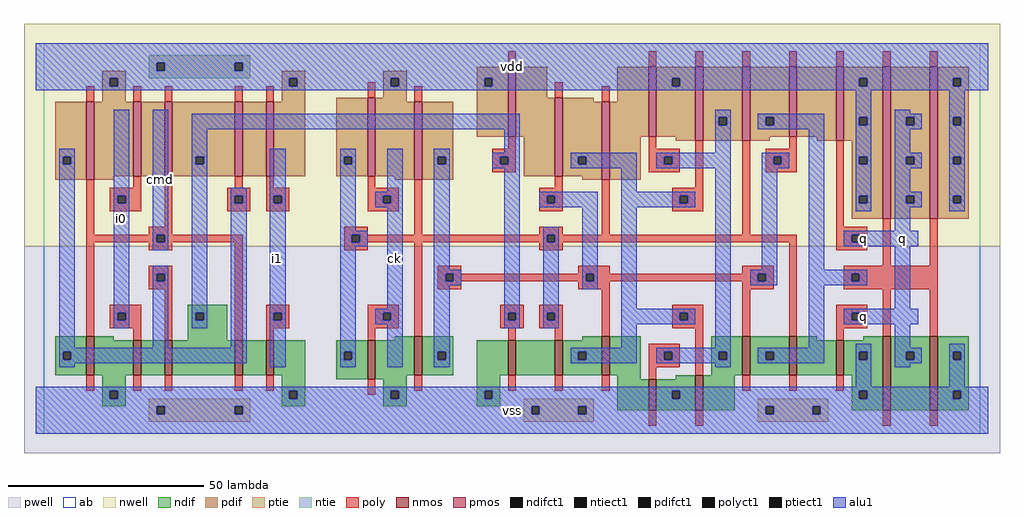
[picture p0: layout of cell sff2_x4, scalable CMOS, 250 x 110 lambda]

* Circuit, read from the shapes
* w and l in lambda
.subckt sff2_x4 ck cmd i0 i1 q vdd vss
M1 vss cmd n1 vss nfet w=10 l=2
M2 n2 i0 vss vss nfet w=9 l=2
M3 n3 n1 n2 vss nfet w=9 l=2
M4 n4 cmd n3 vss nfet w=9 l=2
M5 vss i1 n4 vss nfet w=9 l=2
M6 vss ck n5 vss nfet w=10 l=2
M7 n6 n5 vss vss nfet w=10 l=2
M8 n7 n3 vss vss nfet w=9 l=2
M9 n8 n5 n7 vss nfet w=9 l=2
M10 n9 n6 n8 vss nfet w=10 l=2
M11 vss n10 n9 vss nfet w=8 l=2
M12 n10 n8 vss vss nfet w=9 l=2
M13 n11 n6 n10 vss nfet w=10 l=2
M14 n12 n5 n11 vss nfet w=10 l=2
M15 vss q n12 vss nfet w=9 l=2
M16 q n11 vss vss nfet w=19 l=2 m=2
M17 vdd cmd n1 vdd pfet w=20 l=2
M18 n13 i0 vdd vdd pfet w=19 l=2
M19 n3 cmd n13 vdd pfet w=19 l=2
M20 n14 n1 n3 vdd pfet w=19 l=2
M21 vdd i1 n14 vdd pfet w=19 l=2
M22 vdd ck n5 vdd pfet w=20 l=2
M23 n6 n5 vdd vdd pfet w=20 l=2
M24 n15 n3 vdd vdd pfet w=18 l=2
M25 n8 n6 n15 vdd pfet w=20 l=2
M26 n16 n5 n8 vdd pfet w=20 l=2
M27 vdd n10 n16 vdd pfet w=18 l=2
M28 n10 n8 vdd vdd pfet w=19 l=2
M29 n11 n5 n10 vdd pfet w=19 l=2
M30 n17 n6 n11 vdd pfet w=18 l=2
M31 vdd q n17 vdd pfet w=19 l=2
M32 q n11 vdd vdd pfet w=39 l=2 m=2
.ends

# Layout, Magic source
magic
tech scmos
<< ab >>
rect 0 0 240 100
<< nwell >>
rect -5 48 245 105
<< pwell >>
rect -5 -5 245 48
<< poly >>
rect 119 94 121 98
rect 155 94 157 98
rect 167 94 169 98
rect 179 94 181 98
rect 191 94 193 98
rect 203 94 205 98
rect 215 94 217 98
rect 227 94 229 98
rect 11 85 13 89
rect 23 85 25 89
rect 31 85 33 89
rect 49 85 51 89
rect 57 85 59 89
rect 83 86 85 90
rect 95 85 97 89
rect 11 51 13 65
rect 23 63 25 66
rect 17 61 25 63
rect 17 59 19 61
rect 21 59 25 61
rect 17 57 25 59
rect 31 53 33 66
rect 49 63 51 66
rect 57 63 59 66
rect 83 63 85 66
rect 131 86 133 90
rect 119 73 121 76
rect 115 71 121 73
rect 115 69 117 71
rect 119 69 121 71
rect 115 67 121 69
rect 143 85 145 89
rect 47 61 53 63
rect 47 59 49 61
rect 51 59 53 61
rect 47 57 53 59
rect 57 61 63 63
rect 57 59 59 61
rect 61 59 63 61
rect 57 57 63 59
rect 83 61 91 63
rect 83 59 87 61
rect 89 59 91 61
rect 83 57 91 59
rect 27 51 33 53
rect 77 51 83 53
rect 95 51 97 65
rect 131 63 133 66
rect 155 73 157 76
rect 155 71 163 73
rect 155 69 159 71
rect 161 69 163 71
rect 155 67 163 69
rect 127 61 133 63
rect 127 59 129 61
rect 131 59 133 61
rect 127 57 133 59
rect 127 51 133 53
rect 143 51 145 65
rect 167 63 169 75
rect 161 61 169 63
rect 161 59 163 61
rect 165 59 169 61
rect 161 57 169 59
rect 179 51 181 75
rect 191 73 193 76
rect 185 71 193 73
rect 185 69 187 71
rect 189 69 193 71
rect 185 67 193 69
rect 203 53 205 75
rect 203 51 211 53
rect 11 49 29 51
rect 31 49 51 51
rect 11 25 13 49
rect 27 47 33 49
rect 27 41 33 43
rect 27 39 29 41
rect 31 39 33 41
rect 27 37 33 39
rect 17 31 25 33
rect 17 29 19 31
rect 21 29 25 31
rect 17 27 25 29
rect 23 24 25 27
rect 31 24 33 37
rect 49 24 51 49
rect 77 49 79 51
rect 81 49 129 51
rect 131 49 193 51
rect 77 47 83 49
rect 57 31 63 33
rect 57 29 59 31
rect 61 29 63 31
rect 57 27 63 29
rect 83 31 91 33
rect 83 29 87 31
rect 89 29 91 31
rect 83 27 91 29
rect 57 24 59 27
rect 83 24 85 27
rect 95 25 97 49
rect 127 47 133 49
rect 101 41 107 43
rect 137 41 145 43
rect 179 41 187 43
rect 101 39 103 41
rect 105 39 139 41
rect 141 39 183 41
rect 185 39 187 41
rect 101 37 107 39
rect 137 37 145 39
rect 117 31 123 33
rect 117 29 119 31
rect 121 29 123 31
rect 117 27 123 29
rect 127 31 133 33
rect 127 29 129 31
rect 131 29 133 31
rect 127 27 133 29
rect 11 11 13 15
rect 23 11 25 15
rect 31 11 33 15
rect 49 11 51 15
rect 57 11 59 15
rect 119 24 121 27
rect 131 24 133 27
rect 143 25 145 37
rect 179 37 187 39
rect 161 31 169 33
rect 161 29 163 31
rect 165 29 169 31
rect 161 27 169 29
rect 83 10 85 14
rect 95 11 97 15
rect 119 11 121 15
rect 131 11 133 15
rect 143 11 145 15
rect 155 21 163 23
rect 155 19 159 21
rect 161 19 163 21
rect 155 17 163 19
rect 155 14 157 17
rect 167 15 169 27
rect 179 25 181 37
rect 191 25 193 49
rect 203 49 207 51
rect 209 49 211 51
rect 203 47 211 49
rect 215 43 217 55
rect 227 43 229 55
rect 205 41 229 43
rect 205 39 207 41
rect 209 39 229 41
rect 205 37 229 39
rect 203 31 211 33
rect 203 29 207 31
rect 209 29 211 31
rect 203 27 211 29
rect 203 24 205 27
rect 215 25 217 37
rect 227 25 229 37
rect 179 11 181 15
rect 191 11 193 15
rect 203 11 205 15
rect 155 2 157 6
rect 167 2 169 6
rect 215 2 217 6
rect 227 2 229 6
<< ndif >>
rect 3 21 11 25
rect 3 19 5 21
rect 7 19 11 21
rect 3 15 11 19
rect 13 24 18 25
rect 37 31 47 33
rect 37 29 39 31
rect 41 29 47 31
rect 37 24 47 29
rect 90 24 95 25
rect 13 15 23 24
rect 25 15 31 24
rect 33 15 49 24
rect 51 15 57 24
rect 59 15 67 24
rect 15 11 21 15
rect 61 11 67 15
rect 75 21 83 24
rect 75 19 77 21
rect 79 19 83 21
rect 75 14 83 19
rect 85 15 95 24
rect 97 21 105 25
rect 138 24 143 25
rect 97 19 101 21
rect 103 19 105 21
rect 97 15 105 19
rect 111 15 119 24
rect 121 15 131 24
rect 133 21 143 24
rect 133 19 137 21
rect 139 19 143 21
rect 133 15 143 19
rect 145 15 153 25
rect 85 14 93 15
rect 15 9 17 11
rect 19 9 21 11
rect 61 9 63 11
rect 65 9 67 11
rect 87 11 93 14
rect 111 11 117 15
rect 147 14 153 15
rect 171 21 179 25
rect 171 19 173 21
rect 175 19 179 21
rect 171 15 179 19
rect 181 21 191 25
rect 181 19 185 21
rect 187 19 191 21
rect 181 15 191 19
rect 193 24 198 25
rect 210 24 215 25
rect 193 15 203 24
rect 205 21 215 24
rect 205 19 209 21
rect 211 19 215 21
rect 205 15 215 19
rect 162 14 167 15
rect 15 7 21 9
rect 61 7 67 9
rect 87 9 89 11
rect 91 9 93 11
rect 87 7 93 9
rect 111 9 113 11
rect 115 9 117 11
rect 111 7 117 9
rect 147 6 155 14
rect 157 11 167 14
rect 157 9 161 11
rect 163 9 167 11
rect 157 6 167 9
rect 169 6 177 15
rect 207 11 215 15
rect 207 9 209 11
rect 211 9 215 11
rect 207 6 215 9
rect 217 21 227 25
rect 217 19 221 21
rect 223 19 227 21
rect 217 6 227 19
rect 229 21 237 25
rect 229 19 233 21
rect 235 19 237 21
rect 229 11 237 19
rect 229 9 233 11
rect 235 9 237 11
rect 229 6 237 9
<< pdif >>
rect 15 91 21 93
rect 61 91 67 93
rect 15 89 17 91
rect 19 89 21 91
rect 61 89 63 91
rect 65 89 67 91
rect 87 91 93 93
rect 15 85 21 89
rect 61 85 67 89
rect 87 89 89 91
rect 91 89 93 91
rect 111 91 119 94
rect 111 89 113 91
rect 115 89 119 91
rect 87 86 93 89
rect 3 71 11 85
rect 3 69 5 71
rect 7 69 11 71
rect 3 65 11 69
rect 13 66 23 85
rect 25 66 31 85
rect 33 71 49 85
rect 33 69 39 71
rect 41 69 49 71
rect 33 66 49 69
rect 51 66 57 85
rect 59 66 67 85
rect 75 71 83 86
rect 75 69 77 71
rect 79 69 83 71
rect 75 66 83 69
rect 85 85 93 86
rect 85 66 95 85
rect 13 65 18 66
rect 90 65 95 66
rect 97 71 105 85
rect 111 76 119 89
rect 121 86 129 94
rect 121 76 131 86
rect 97 69 101 71
rect 103 69 105 71
rect 97 65 105 69
rect 123 66 131 76
rect 133 85 141 86
rect 147 85 155 94
rect 133 71 143 85
rect 133 69 137 71
rect 139 69 143 71
rect 133 66 143 69
rect 138 65 143 66
rect 145 76 155 85
rect 157 91 167 94
rect 157 89 161 91
rect 163 89 167 91
rect 157 76 167 89
rect 145 65 153 76
rect 162 75 167 76
rect 169 81 179 94
rect 169 79 173 81
rect 175 79 179 81
rect 169 75 179 79
rect 181 81 191 94
rect 181 79 185 81
rect 187 79 191 81
rect 181 76 191 79
rect 193 76 203 94
rect 181 75 186 76
rect 198 75 203 76
rect 205 91 215 94
rect 205 89 209 91
rect 211 89 215 91
rect 205 81 215 89
rect 205 79 209 81
rect 211 79 215 81
rect 205 75 215 79
rect 207 71 215 75
rect 207 69 209 71
rect 211 69 215 71
rect 207 61 215 69
rect 207 59 209 61
rect 211 59 215 61
rect 207 55 215 59
rect 217 81 227 94
rect 217 79 221 81
rect 223 79 227 81
rect 217 71 227 79
rect 217 69 221 71
rect 223 69 227 71
rect 217 61 227 69
rect 217 59 221 61
rect 223 59 227 61
rect 217 55 227 59
rect 229 91 237 94
rect 229 89 233 91
rect 235 89 237 91
rect 229 81 237 89
rect 229 79 233 81
rect 235 79 237 81
rect 229 71 237 79
rect 229 69 233 71
rect 235 69 237 71
rect 229 61 237 69
rect 229 59 233 61
rect 235 59 237 61
rect 229 55 237 59
<< alu1 >>
rect -2 95 242 100
rect -2 93 29 95
rect 31 93 49 95
rect 51 93 242 95
rect -2 91 242 93
rect -2 89 17 91
rect 19 89 63 91
rect 65 89 89 91
rect 91 89 113 91
rect 115 89 161 91
rect 163 89 209 91
rect 211 89 233 91
rect 235 89 242 91
rect -2 88 242 89
rect 4 71 8 73
rect 4 69 5 71
rect 7 69 8 71
rect 4 22 8 69
rect 18 61 22 83
rect 18 59 19 61
rect 21 59 22 61
rect 18 31 22 59
rect 28 51 32 83
rect 28 49 29 51
rect 31 49 32 51
rect 28 47 32 49
rect 38 78 122 82
rect 38 71 42 78
rect 38 69 39 71
rect 41 69 42 71
rect 18 29 19 31
rect 21 29 22 31
rect 18 27 22 29
rect 28 41 32 43
rect 28 39 29 41
rect 31 39 32 41
rect 28 22 32 39
rect 38 31 42 69
rect 38 29 39 31
rect 41 29 42 31
rect 38 27 42 29
rect 48 61 52 63
rect 48 59 49 61
rect 51 59 52 61
rect 48 22 52 59
rect 4 21 52 22
rect 4 19 5 21
rect 7 19 52 21
rect 4 18 52 19
rect 58 61 62 73
rect 58 59 59 61
rect 61 59 62 61
rect 58 31 62 59
rect 58 29 59 31
rect 61 29 62 31
rect 4 17 8 18
rect 58 17 62 29
rect 76 71 80 73
rect 76 69 77 71
rect 79 69 80 71
rect 76 52 80 69
rect 88 62 92 73
rect 85 61 92 62
rect 85 59 87 61
rect 89 59 92 61
rect 85 58 92 59
rect 76 51 83 52
rect 76 49 79 51
rect 81 49 83 51
rect 76 48 83 49
rect 76 21 80 48
rect 88 32 92 58
rect 85 31 92 32
rect 85 29 87 31
rect 89 29 92 31
rect 85 28 92 29
rect 76 19 77 21
rect 79 19 80 21
rect 76 17 80 19
rect 88 17 92 28
rect 100 71 104 73
rect 118 72 122 78
rect 172 81 176 83
rect 172 79 173 81
rect 175 79 176 81
rect 172 72 176 79
rect 183 81 200 82
rect 183 79 185 81
rect 187 79 200 81
rect 183 78 200 79
rect 100 69 101 71
rect 103 69 104 71
rect 100 42 104 69
rect 115 71 122 72
rect 115 69 117 71
rect 119 69 122 71
rect 115 68 122 69
rect 135 71 152 72
rect 135 69 137 71
rect 139 69 152 71
rect 135 68 152 69
rect 157 71 176 72
rect 157 69 159 71
rect 161 69 176 71
rect 157 68 176 69
rect 100 41 107 42
rect 100 39 103 41
rect 105 39 107 41
rect 100 38 107 39
rect 100 21 104 38
rect 118 31 122 68
rect 148 62 152 68
rect 127 61 142 62
rect 127 59 129 61
rect 131 59 142 61
rect 127 58 142 59
rect 118 29 119 31
rect 121 29 122 31
rect 118 27 122 29
rect 128 51 132 53
rect 128 49 129 51
rect 131 49 132 51
rect 128 31 132 49
rect 138 41 142 58
rect 138 39 139 41
rect 141 39 142 41
rect 138 37 142 39
rect 148 61 167 62
rect 148 59 163 61
rect 165 59 167 61
rect 148 58 167 59
rect 128 29 129 31
rect 131 29 132 31
rect 128 27 132 29
rect 148 32 152 58
rect 148 31 167 32
rect 148 29 163 31
rect 165 29 167 31
rect 148 28 167 29
rect 148 22 152 28
rect 172 22 176 68
rect 184 71 191 72
rect 184 69 187 71
rect 189 69 191 71
rect 184 68 191 69
rect 184 42 188 68
rect 181 41 188 42
rect 181 39 183 41
rect 185 39 188 41
rect 181 38 188 39
rect 196 42 200 78
rect 208 81 212 88
rect 208 79 209 81
rect 211 79 212 81
rect 208 71 212 79
rect 208 69 209 71
rect 211 69 212 71
rect 208 61 212 69
rect 208 59 209 61
rect 211 59 212 61
rect 208 57 212 59
rect 218 82 222 83
rect 218 81 225 82
rect 218 79 221 81
rect 223 79 225 81
rect 218 78 225 79
rect 232 81 236 88
rect 232 79 233 81
rect 235 79 236 81
rect 218 72 222 78
rect 218 71 225 72
rect 218 69 221 71
rect 223 69 225 71
rect 218 68 225 69
rect 232 71 236 79
rect 232 69 233 71
rect 235 69 236 71
rect 218 62 222 68
rect 218 61 225 62
rect 218 59 221 61
rect 223 59 225 61
rect 218 58 225 59
rect 232 61 236 69
rect 232 59 233 61
rect 235 59 236 61
rect 218 52 222 58
rect 232 57 236 59
rect 205 51 224 52
rect 205 49 207 51
rect 209 49 224 51
rect 205 48 224 49
rect 196 41 211 42
rect 196 39 207 41
rect 209 39 211 41
rect 196 38 211 39
rect 196 22 200 38
rect 218 32 222 48
rect 205 31 224 32
rect 205 29 207 31
rect 209 29 224 31
rect 205 28 224 29
rect 100 19 101 21
rect 103 19 104 21
rect 100 17 104 19
rect 135 21 152 22
rect 135 19 137 21
rect 139 19 152 21
rect 135 18 152 19
rect 157 21 176 22
rect 157 19 159 21
rect 161 19 173 21
rect 175 19 176 21
rect 157 18 176 19
rect 183 21 200 22
rect 183 19 185 21
rect 187 19 200 21
rect 183 18 200 19
rect 208 21 212 23
rect 208 19 209 21
rect 211 19 212 21
rect 172 17 176 18
rect 208 12 212 19
rect 218 22 222 28
rect 218 21 225 22
rect 218 19 221 21
rect 223 19 225 21
rect 218 18 225 19
rect 232 21 236 23
rect 232 19 233 21
rect 235 19 236 21
rect 218 17 222 18
rect 232 12 236 19
rect -2 11 242 12
rect -2 9 17 11
rect 19 9 63 11
rect 65 9 89 11
rect 91 9 113 11
rect 115 9 161 11
rect 163 9 209 11
rect 211 9 233 11
rect 235 9 242 11
rect -2 7 242 9
rect -2 5 29 7
rect 31 5 49 7
rect 51 5 125 7
rect 127 5 137 7
rect 139 5 185 7
rect 187 5 197 7
rect 199 5 242 7
rect -2 0 242 5
<< ptie >>
rect 27 7 53 9
rect 123 7 141 9
rect 27 5 29 7
rect 31 5 49 7
rect 51 5 53 7
rect 27 3 53 5
rect 123 5 125 7
rect 127 5 137 7
rect 139 5 141 7
rect 183 7 201 9
rect 123 3 141 5
rect 183 5 185 7
rect 187 5 197 7
rect 199 5 201 7
rect 183 3 201 5
<< ntie >>
rect 27 95 53 97
rect 27 93 29 95
rect 31 93 49 95
rect 51 93 53 95
rect 27 91 53 93
<< nmos >>
rect 11 15 13 25
rect 23 15 25 24
rect 31 15 33 24
rect 49 15 51 24
rect 57 15 59 24
rect 83 14 85 24
rect 95 15 97 25
rect 119 15 121 24
rect 131 15 133 24
rect 143 15 145 25
rect 179 15 181 25
rect 191 15 193 25
rect 203 15 205 24
rect 155 6 157 14
rect 167 6 169 15
rect 215 6 217 25
rect 227 6 229 25
<< pmos >>
rect 11 65 13 85
rect 23 66 25 85
rect 31 66 33 85
rect 49 66 51 85
rect 57 66 59 85
rect 83 66 85 86
rect 95 65 97 85
rect 119 76 121 94
rect 131 66 133 86
rect 143 65 145 85
rect 155 76 157 94
rect 167 75 169 94
rect 179 75 181 94
rect 191 76 193 94
rect 203 75 205 94
rect 215 55 217 94
rect 227 55 229 94
<< polyct1 >>
rect 19 59 21 61
rect 117 69 119 71
rect 49 59 51 61
rect 59 59 61 61
rect 87 59 89 61
rect 159 69 161 71
rect 129 59 131 61
rect 163 59 165 61
rect 187 69 189 71
rect 29 49 31 51
rect 29 39 31 41
rect 19 29 21 31
rect 79 49 81 51
rect 129 49 131 51
rect 59 29 61 31
rect 87 29 89 31
rect 103 39 105 41
rect 139 39 141 41
rect 183 39 185 41
rect 119 29 121 31
rect 129 29 131 31
rect 163 29 165 31
rect 159 19 161 21
rect 207 49 209 51
rect 207 39 209 41
rect 207 29 209 31
<< ndifct1 >>
rect 5 19 7 21
rect 39 29 41 31
rect 77 19 79 21
rect 101 19 103 21
rect 137 19 139 21
rect 17 9 19 11
rect 63 9 65 11
rect 173 19 175 21
rect 185 19 187 21
rect 209 19 211 21
rect 89 9 91 11
rect 113 9 115 11
rect 161 9 163 11
rect 209 9 211 11
rect 221 19 223 21
rect 233 19 235 21
rect 233 9 235 11
<< ntiect1 >>
rect 29 93 31 95
rect 49 93 51 95
<< ptiect1 >>
rect 29 5 31 7
rect 49 5 51 7
rect 125 5 127 7
rect 137 5 139 7
rect 185 5 187 7
rect 197 5 199 7
<< pdifct1 >>
rect 17 89 19 91
rect 63 89 65 91
rect 89 89 91 91
rect 113 89 115 91
rect 5 69 7 71
rect 39 69 41 71
rect 77 69 79 71
rect 101 69 103 71
rect 137 69 139 71
rect 161 89 163 91
rect 173 79 175 81
rect 185 79 187 81
rect 209 89 211 91
rect 209 79 211 81
rect 209 69 211 71
rect 209 59 211 61
rect 221 79 223 81
rect 221 69 223 71
rect 221 59 223 61
rect 233 89 235 91
rect 233 79 235 81
rect 233 69 235 71
rect 233 59 235 61
<< labels >>
rlabel alu1 20 55 20 55 6 i0
rlabel alu1 30 65 30 65 6 cmd
rlabel alu1 90 45 90 45 6 ck
rlabel alu1 60 45 60 45 6 i1
rlabel alu1 120 6 120 6 6 vss
rlabel alu1 120 94 120 94 6 vdd
rlabel alu1 210 30 210 30 6 q
rlabel alu1 220 50 220 50 6 q
rlabel alu1 210 50 210 50 6 q
<< end >>
